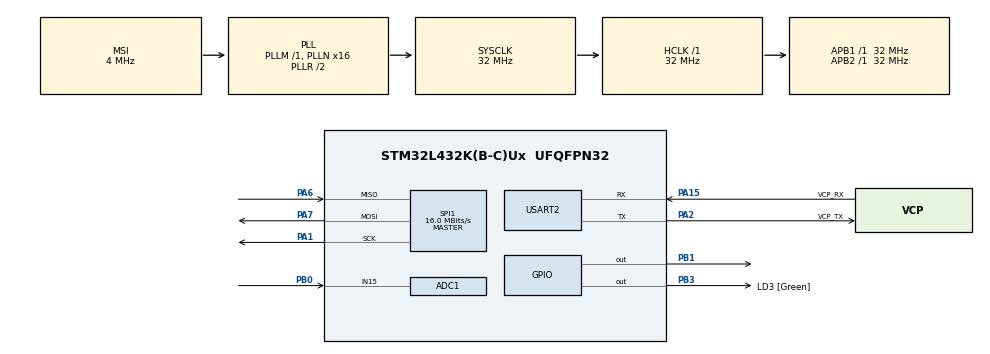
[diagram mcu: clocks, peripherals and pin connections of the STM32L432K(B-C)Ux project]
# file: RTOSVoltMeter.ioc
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ADC1.Channel-0\#ChannelRegularConversion=ADC_CHANNEL_15
ADC1.NbrOfConversionFlag=1
ADC1.OffsetNumber-0\#ChannelRegularConversion=ADC_OFFSET_NONE
ADC1.Rank-0\#ChannelRegularConversion=1
ADC1.SamplingTime-0\#ChannelRegularConversion=ADC_SAMPLETIME_2CYCLES_5
ADC1.master=1
FREERTOS.BinarySemaphores01=adcSemaphore,Static,adcSemaphoreControlBlock,Available;enecryptSemaphore,Static,enecryptSemaphoreControlBlock,Depleted;spiSemaphore,Static,spiSemaphoreControlBlock,Depleted
FREERTOS.Mutexes01=adcLock0,Static,adcLockControlBlock,Available;enecryptLock,Static,enecryptLockControlBlock,Available;spiMutex,Static,spiMutexControlBlock,Available;adcLock1,Static,adcLock1ControlBlock,Available
FREERTOS.Queues01=enecryptOutput,8,uint8_t,0,Static,enecryptOutputBuffer,enecryptOutputControlBlock;adcOutputQueue1,4,uint16_t,0,Static,adcOutputQueue1Buffer,adcOutputQueue1ControlBlock;adcOutputQueue0,4,uint16_t,0,Static,adcOutputQueueBuffer0,adcOutputQueueControlBlock0
FREERTOS.Tasks01=defaultTask,24,128,StartDefaultTask,Default,NULL,Dynamic,NULL,NULL;adc,24,128,StartAdc,Default,NULL,Static,adcBuffer,adcControlBlock;encrypter,24,128,startEncrypter,Default,NULL,Static,encrypterBuffer,encrypterControlBlock;spiTask,24,128,startSpi,Default,NULL,Static,spiTaskBuffer,spiTaskControlBlock
FREERTOS.configUSE_NEWLIB_REENTRANT=1
Mcu.Family=STM32L4
Mcu.Name=STM32L432K(B-C)Ux
Mcu.Package=UFQFPN32
NVIC.PriorityGroup=NVIC_PRIORITYGROUP_4
NVIC.TIM6_DAC_IRQn=true\:15\:0\:false\:false\:true\:false\:false\:true\:true
NVIC.TimeBase=TIM6_DAC_IRQn
NVIC.TimeBaseIP=TIM6
PA0.GPIO_Label=MCO [High speed clock in]
PA0.Mode=HSE-External-Clock-Source-for-LittleOrca
PA0.Signal=RCC_CK_IN
PA1.Mode=Full_Duplex_Master
PA1.Signal=SPI1_SCK
PA13\ (JTMS-SWDIO).GPIO_Label=SWDIO
PA13\ (JTMS-SWDIO).Mode=Serial_Wire
PA13\ (JTMS-SWDIO).Signal=SYS_JTMS-SWDIO
PA14\ (JTCK-SWCLK).GPIO_Label=SWCLK
PA14\ (JTCK-SWCLK).Mode=Serial_Wire
PA14\ (JTCK-SWCLK).Signal=SYS_JTCK-SWCLK
PA15\ (JTDI).GPIO_Label=VCP_RX
PA15\ (JTDI).Mode=Asynchronous
PA15\ (JTDI).Signal=USART2_RX
PA2.GPIO_Label=VCP_TX
PA2.Mode=Asynchronous
PA2.Signal=USART2_TX
PA6.Mode=Full_Duplex_Master
PA6.Signal=SPI1_MISO
PA7.Mode=Full_Duplex_Master
PA7.Signal=SPI1_MOSI
PB0.Signal=ADCx_IN15
PB1.Signal=GPIO_Output
PB3\ (JTDO-TRACESWO).GPIO_Label=LD3 [Green]
PB3\ (JTDO-TRACESWO).Signal=GPIO_Output
PC14-OSC32_IN\ (PC14).Mode=LSE-External-Oscillator
PC14-OSC32_IN\ (PC14).Signal=RCC_OSC32_IN
PC15-OSC32_OUT\ (PC15).Mode=LSE-External-Oscillator
PC15-OSC32_OUT\ (PC15).Signal=RCC_OSC32_OUT
ProjectManager.HeapSize=0x200
ProjectManager.StackSize=0x400
ProjectManager.TargetToolchain=STM32CubeIDE
RCC.ADCFreq_Value=32000000
RCC.AHBFreq_Value=32000000
RCC.APB1Freq_Value=32000000
RCC.APB1TimFreq_Value=32000000
RCC.APB2Freq_Value=32000000
RCC.APB2TimFreq_Value=32000000
RCC.CortexFreq_Value=32000000
RCC.HCLKFreq_Value=32000000
RCC.HSE_VALUE=8000000
RCC.HSI16_VALUE=16000000
RCC.HSI48_VALUE=48000000
RCC.HSI_VALUE=16000000
RCC.MSI_VALUE=4000000
RCC.PLLMUL=RCC_PLLMUL_4
RCC.PLLN=16
RCC.PLLSAI1N=16
RCC.SYSCLKFreq_VALUE=32000000
RCC.SYSCLKSource=RCC_SYSCLKSOURCE_PLLCLK
RCC.USBFreq_Value=32000000
RCC.VCOOutputFreq_Value=64000000
SH.ADCx_IN15.0=ADC1_IN15,IN15-Single-Ended
SPI1.BaudRatePrescaler=SPI_BAUDRATEPRESCALER_2
SPI1.CalculateBaudRate=16.0 MBits/s
SPI1.DataSize=SPI_DATASIZE_8BIT
SPI1.Direction=SPI_DIRECTION_2LINES
SPI1.Mode=SPI_MODE_MASTER
SPI1.NSSPMode=SPI_NSS_PULSE_ENABLE
SPI1.VirtualType=VM_MASTER
USART2.VirtualMode-Asynchronous=VM_ASYNC
VP_FREERTOS_VS_CMSIS_V2.Mode=CMSIS_V2
VP_SYS_VS_tim6.Mode=TIM6
board=NUCLEO-L432KC

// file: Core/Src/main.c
/* USER CODE BEGIN Header */
/**
  ******************************************************************************
  * @file           : main.c
  * @brief          : Main program body
  ******************************************************************************
  * @attention
  *
  * Copyright (c) 2024 STMicroelectronics.
  * All rights reserved.
  *
  * This software is licensed under terms that can be found in the LICENSE file
  * in the root directory of this software component.
  * If no LICENSE file comes with this software, it is provided AS-IS.
  *
  ******************************************************************************
  */
/* USER CODE END Header */
#include "main.h"
#include "cmsis_os.h"

/* USER CODE BEGIN Includes */
#include "stm32l4xx_ll_spi.h"
#include "stm32l4xx_ll_adc.h"
#include "stm32l4xx_ll_gpio.h"
#include "stm32l4xx_ll_bus.h"
#include "stm32l4xx_ll_utils.h"
/* USER CODE END Includes */

typedef StaticTask_t osStaticThreadDef_t;
typedef StaticQueue_t osStaticMessageQDef_t;
typedef StaticSemaphore_t osStaticMutexDef_t;
typedef StaticSemaphore_t osStaticSemaphoreDef_t;

UART_HandleTypeDef huart2;

/* Definitions for defaultTask */
osThreadId_t defaultTaskHandle;
const osThreadAttr_t defaultTask_attributes = {
  .name = "defaultTask",
  .stack_size = 128 * 4,
  .priority = (osPriority_t) osPriorityNormal,
};
/* Definitions for adc */
osThreadId_t adcHandle;
uint32_t adcBuffer[ 128 ];
osStaticThreadDef_t adcControlBlock;
const osThreadAttr_t adc_attributes = {
  .name = "adc",
  .cb_mem = &adcControlBlock,
  .cb_size = sizeof(adcControlBlock),
  .stack_mem = &adcBuffer[0],
  .stack_size = sizeof(adcBuffer),
  .priority = (osPriority_t) osPriorityNormal,
};
/* Definitions for encrypter */
osThreadId_t encrypterHandle;
uint32_t encrypterBuffer[ 128 ];
osStaticThreadDef_t encrypterControlBlock;
const osThreadAttr_t encrypter_attributes = {
  .name = "encrypter",
  .cb_mem = &encrypterControlBlock,
  .cb_size = sizeof(encrypterControlBlock),
  .stack_mem = &encrypterBuffer[0],
  .stack_size = sizeof(encrypterBuffer),
  .priority = (osPriority_t) osPriorityNormal,
};
/* Definitions for spiTask */
osThreadId_t spiTaskHandle;
uint32_t spiTaskBuffer[ 128 ];
osStaticThreadDef_t spiTaskControlBlock;
const osThreadAttr_t spiTask_attributes = {
  .name = "spiTask",
  .cb_mem = &spiTaskControlBlock,
  .cb_size = sizeof(spiTaskControlBlock),
  .stack_mem = &spiTaskBuffer[0],
  .stack_size = sizeof(spiTaskBuffer),
  .priority = (osPriority_t) osPriorityNormal,
};
/* Definitions for enecryptOutput */
osMessageQueueId_t enecryptOutputHandle;
uint8_t enecryptOutputBuffer[ 8 * sizeof( uint8_t ) ];
osStaticMessageQDef_t enecryptOutputControlBlock;
const osMessageQueueAttr_t enecryptOutput_attributes = {
  .name = "enecryptOutput",
  .cb_mem = &enecryptOutputControlBlock,
  .cb_size = sizeof(enecryptOutputControlBlock),
  .mq_mem = &enecryptOutputBuffer,
  .mq_size = sizeof(enecryptOutputBuffer)
};
/* Definitions for adcOutputQueue1 */
osMessageQueueId_t adcOutputQueue1Handle;
uint8_t adcOutputQueue1Buffer[ 4 * sizeof( uint16_t ) ];
osStaticMessageQDef_t adcOutputQueue1ControlBlock;
const osMessageQueueAttr_t adcOutputQueue1_attributes = {
  .name = "adcOutputQueue1",
  .cb_mem = &adcOutputQueue1ControlBlock,
  .cb_size = sizeof(adcOutputQueue1ControlBlock),
  .mq_mem = &adcOutputQueue1Buffer,
  .mq_size = sizeof(adcOutputQueue1Buffer)
};
/* Definitions for adcOutputQueue0 */
osMessageQueueId_t adcOutputQueue0Handle;
uint8_t adcOutputQueueBuffer0[ 4 * sizeof( uint16_t ) ];
osStaticMessageQDef_t adcOutputQueueControlBlock0;
const osMessageQueueAttr_t adcOutputQueue0_attributes = {
  .name = "adcOutputQueue0",
  .cb_mem = &adcOutputQueueControlBlock0,
  .cb_size = sizeof(adcOutputQueueControlBlock0),
  .mq_mem = &adcOutputQueueBuffer0,
  .mq_size = sizeof(adcOutputQueueBuffer0)
};
/* Definitions for adcLock0 */
osMutexId_t adcLock0Handle;
osStaticMutexDef_t adcLockControlBlock;
const osMutexAttr_t adcLock0_attributes = {
  .name = "adcLock0",
  .cb_mem = &adcLockControlBlock,
  .cb_size = sizeof(adcLockControlBlock),
};
/* Definitions for enecryptLock */
osMutexId_t enecryptLockHandle;
osStaticMutexDef_t enecryptLockControlBlock;
const osMutexAttr_t enecryptLock_attributes = {
  .name = "enecryptLock",
  .cb_mem = &enecryptLockControlBlock,
  .cb_size = sizeof(enecryptLockControlBlock),
};
/* Definitions for spiMutex */
osMutexId_t spiMutexHandle;
osStaticMutexDef_t spiMutexControlBlock;
const osMutexAttr_t spiMutex_attributes = {
  .name = "spiMutex",
  .cb_mem = &spiMutexControlBlock,
  .cb_size = sizeof(spiMutexControlBlock),
};
/* Definitions for adcLock1 */
osMutexId_t adcLock1Handle;
osStaticMutexDef_t adcLock1ControlBlock;
const osMutexAttr_t adcLock1_attributes = {
  .name = "adcLock1",
  .cb_mem = &adcLock1ControlBlock,
  .cb_size = sizeof(adcLock1ControlBlock),
};
/* Definitions for adcSemaphore */
osSemaphoreId_t adcSemaphoreHandle;
osStaticSemaphoreDef_t adcSemaphoreControlBlock;
const osSemaphoreAttr_t adcSemaphore_attributes = {
  .name = "adcSemaphore",
  .cb_mem = &adcSemaphoreControlBlock,
  .cb_size = sizeof(adcSemaphoreControlBlock),
};
/* Definitions for enecryptSemaphore */
osSemaphoreId_t enecryptSemaphoreHandle;
osStaticSemaphoreDef_t enecryptSemaphoreControlBlock;
const osSemaphoreAttr_t enecryptSemaphore_attributes = {
  .name = "enecryptSemaphore",
  .cb_mem = &enecryptSemaphoreControlBlock,
  .cb_size = sizeof(enecryptSemaphoreControlBlock),
};
/* Definitions for spiSemaphore */
osSemaphoreId_t spiSemaphoreHandle;
osStaticSemaphoreDef_t spiSemaphoreControlBlock;
const osSemaphoreAttr_t spiSemaphore_attributes = {
  .name = "spiSemaphore",
  .cb_mem = &spiSemaphoreControlBlock,
  .cb_size = sizeof(spiSemaphoreControlBlock),
};

void SystemClock_Config(void);
static void MX_GPIO_Init(void);
static void MX_USART2_UART_Init(void);
static void MX_ADC1_Init(void);
static void MX_SPI1_Init(void);
void StartDefaultTask(void *argument);
void StartAdc(void *argument);
void startEncrypter(void *argument);
void startSpi(void *argument);

/* USER CODE BEGIN PFP */
void encrypt (uint32_t *v0I,uint32_t *v1I, const uint32_t k[4]);
/* USER CODE END PFP */

/* USER CODE BEGIN 0 */
void encrypt (uint32_t *v0I,uint32_t *v1I, const uint32_t k[4]) {
  uint32_t v1 = *v1I, v0=*v0I;
  uint32_t sum=0, i;   /* set up */
  uint32_t delta=0x9E3779B9;             /* a key schedule constant */
  uint32_t k0=k[0], k1=k[1], k2=k[2], k3=k[3];  /* cache key */
  for (i=0; i<32; i++) {                 /* basic cycle start */
    sum += delta;
    v0 += ((v1<<4) + k0) ^ (v1 + sum) ^ ((v1>>5) + k1);
    v1 += ((v0<<4) + k2) ^ (v0 + sum) ^ ((v0>>5) + k3);
  }                       /* end cycle */
  (*v0I)= v0;
  (*v1I)= v1;
}
/* USER CODE END 0 */

int main(void)
{

  /* MCU Configuration--------------------------------------------------------*/

  /* Reset of all peripherals, Initializes the Flash interface and the Systick. */
  HAL_Init();

  /* Configure the system clock */
  SystemClock_Config();

  /* Initialize all configured peripherals */
  MX_GPIO_Init();
  MX_USART2_UART_Init();
  MX_ADC1_Init();
  MX_SPI1_Init();

  /* Init scheduler */
  osKernelInitialize();
  /* Create the mutex(es) */
  /* creation of adcLock0 */
  adcLock0Handle = osMutexNew(&adcLock0_attributes);

  /* creation of enecryptLock */
  enecryptLockHandle = osMutexNew(&enecryptLock_attributes);

  /* creation of spiMutex */
  spiMutexHandle = osMutexNew(&spiMutex_attributes);

  /* creation of adcLock1 */
  adcLock1Handle = osMutexNew(&adcLock1_attributes);

  /* Create the semaphores(s) */
  /* creation of adcSemaphore */
  adcSemaphoreHandle = osSemaphoreNew(1, 1, &adcSemaphore_attributes);

  /* creation of enecryptSemaphore */
  enecryptSemaphoreHandle = osSemaphoreNew(1, 0, &enecryptSemaphore_attributes);

  /* creation of spiSemaphore */
  spiSemaphoreHandle = osSemaphoreNew(1, 0, &spiSemaphore_attributes);

  /* Create the queue(s) */
  /* creation of enecryptOutput */
  enecryptOutputHandle = osMessageQueueNew (8, sizeof(uint8_t), &enecryptOutput_attributes);

  /* creation of adcOutputQueue1 */
  adcOutputQueue1Handle = osMessageQueueNew (4, sizeof(uint16_t), &adcOutputQueue1_attributes);

  /* creation of adcOutputQueue0 */
  adcOutputQueue0Handle = osMessageQueueNew (4, sizeof(uint16_t), &adcOutputQueue0_attributes);

  /* Create the thread(s) */
  /* creation of defaultTask */
  defaultTaskHandle = osThreadNew(StartDefaultTask, NULL, &defaultTask_attributes);

  /* creation of adc */
  adcHandle = osThreadNew(StartAdc, NULL, &adc_attributes);

  /* creation of encrypter */
  encrypterHandle = osThreadNew(startEncrypter, NULL, &encrypter_attributes);

  /* creation of spiTask */
  spiTaskHandle = osThreadNew(startSpi, NULL, &spiTask_attributes);

  /* Start scheduler */
  osKernelStart();

  /* We should never get here as control is now taken by the scheduler */

  /* Infinite loop */
  while (1)
  {

  }
}

void SystemClock_Config(void)
{
  RCC_OscInitTypeDef RCC_OscInitStruct = {0};
  RCC_ClkInitTypeDef RCC_ClkInitStruct = {0};

  /** Configure the main internal regulator output voltage
  */
  if (HAL_PWREx_ControlVoltageScaling(PWR_REGULATOR_VOLTAGE_SCALE1) != HAL_OK)
  {
    Error_Handler();
  }

  /** Configure LSE Drive Capability
  */
  HAL_PWR_EnableBkUpAccess();
  __HAL_RCC_LSEDRIVE_CONFIG(RCC_LSEDRIVE_LOW);

  /** Initializes the RCC Oscillators according to the specified parameters
  * in the RCC_OscInitTypeDef structure.
  */
  RCC_OscInitStruct.OscillatorType = RCC_OSCILLATORTYPE_LSE|RCC_OSCILLATORTYPE_MSI;
  RCC_OscInitStruct.LSEState = RCC_LSE_ON;
  RCC_OscInitStruct.MSIState = RCC_MSI_ON;
  RCC_OscInitStruct.MSICalibrationValue = 0;
  RCC_OscInitStruct.MSIClockRange = RCC_MSIRANGE_6;
  RCC_OscInitStruct.PLL.PLLState = RCC_PLL_ON;
  RCC_OscInitStruct.PLL.PLLSource = RCC_PLLSOURCE_MSI;
  RCC_OscInitStruct.PLL.PLLM = 1;
  RCC_OscInitStruct.PLL.PLLN = 16;
  RCC_OscInitStruct.PLL.PLLP = RCC_PLLP_DIV7;
  RCC_OscInitStruct.PLL.PLLQ = RCC_PLLQ_DIV2;
  RCC_OscInitStruct.PLL.PLLR = RCC_PLLR_DIV2;
  if (HAL_RCC_OscConfig(&RCC_OscInitStruct) != HAL_OK)
  {
    Error_Handler();
  }

  /** Initializes the CPU, AHB and APB buses clocks
  */
  RCC_ClkInitStruct.ClockType = RCC_CLOCKTYPE_HCLK|RCC_CLOCKTYPE_SYSCLK
                              |RCC_CLOCKTYPE_PCLK1|RCC_CLOCKTYPE_PCLK2;
  RCC_ClkInitStruct.SYSCLKSource = RCC_SYSCLKSOURCE_PLLCLK;
  RCC_ClkInitStruct.AHBCLKDivider = RCC_SYSCLK_DIV1;
  RCC_ClkInitStruct.APB1CLKDivider = RCC_HCLK_DIV1;
  RCC_ClkInitStruct.APB2CLKDivider = RCC_HCLK_DIV1;

  if (HAL_RCC_ClockConfig(&RCC_ClkInitStruct, FLASH_LATENCY_1) != HAL_OK)
  {
    Error_Handler();
  }

  /** Enable MSI Auto calibration
  */
  HAL_RCCEx_EnableMSIPLLMode();
}

static void MX_ADC1_Init(void)
{

  LL_ADC_InitTypeDef ADC_InitStruct = {0};
  LL_ADC_REG_InitTypeDef ADC_REG_InitStruct = {0};
  LL_ADC_CommonInitTypeDef ADC_CommonInitStruct = {0};

  LL_GPIO_InitTypeDef GPIO_InitStruct = {0};
  RCC_PeriphCLKInitTypeDef PeriphClkInit = {0};

  /** Initializes the peripherals clock
  */
  PeriphClkInit.PeriphClockSelection = RCC_PERIPHCLK_ADC;
  PeriphClkInit.AdcClockSelection = RCC_ADCCLKSOURCE_PLLSAI1;
  PeriphClkInit.PLLSAI1.PLLSAI1Source = RCC_PLLSOURCE_MSI;
  PeriphClkInit.PLLSAI1.PLLSAI1M = 1;
  PeriphClkInit.PLLSAI1.PLLSAI1N = 16;
  PeriphClkInit.PLLSAI1.PLLSAI1P = RCC_PLLP_DIV7;
  PeriphClkInit.PLLSAI1.PLLSAI1Q = RCC_PLLQ_DIV2;
  PeriphClkInit.PLLSAI1.PLLSAI1R = RCC_PLLR_DIV2;
  PeriphClkInit.PLLSAI1.PLLSAI1ClockOut = RCC_PLLSAI1_ADC1CLK;
  if (HAL_RCCEx_PeriphCLKConfig(&PeriphClkInit) != HAL_OK)
  {
    Error_Handler();
  }

  /* Peripheral clock enable */
  LL_AHB2_GRP1_EnableClock(LL_AHB2_GRP1_PERIPH_ADC);

  LL_AHB2_GRP1_EnableClock(LL_AHB2_GRP1_PERIPH_GPIOB);
  /**ADC1 GPIO Configuration
  PB0   ------> ADC1_IN15
  */
  GPIO_InitStruct.Pin = LL_GPIO_PIN_0;
  GPIO_InitStruct.Mode = LL_GPIO_MODE_ANALOG;
  GPIO_InitStruct.Pull = LL_GPIO_PULL_NO;
  LL_GPIO_Init(GPIOB, &GPIO_InitStruct);

  /** Common config
  */
  ADC_InitStruct.Resolution = LL_ADC_RESOLUTION_12B;
  ADC_InitStruct.DataAlignment = LL_ADC_DATA_ALIGN_RIGHT;
  ADC_InitStruct.LowPowerMode = LL_ADC_LP_MODE_NONE;
  LL_ADC_Init(ADC1, &ADC_InitStruct);
  ADC_REG_InitStruct.TriggerSource = LL_ADC_REG_TRIG_SOFTWARE;
  ADC_REG_InitStruct.SequencerLength = LL_ADC_REG_SEQ_SCAN_DISABLE;
  ADC_REG_InitStruct.SequencerDiscont = LL_ADC_REG_SEQ_DISCONT_DISABLE;
  ADC_REG_InitStruct.ContinuousMode = LL_ADC_REG_CONV_SINGLE;
  ADC_REG_InitStruct.DMATransfer = LL_ADC_REG_DMA_TRANSFER_NONE;
  ADC_REG_InitStruct.Overrun = LL_ADC_REG_OVR_DATA_PRESERVED;
  LL_ADC_REG_Init(ADC1, &ADC_REG_InitStruct);
  LL_ADC_SetOverSamplingScope(ADC1, LL_ADC_OVS_DISABLE);
  ADC_CommonInitStruct.CommonClock = LL_ADC_CLOCK_ASYNC_DIV1;
  LL_ADC_CommonInit(__LL_ADC_COMMON_INSTANCE(ADC1), &ADC_CommonInitStruct);
  LL_ADC_SetCommonPathInternalCh(__LL_ADC_COMMON_INSTANCE(ADC1), LL_ADC_PATH_INTERNAL_NONE);

  /* Disable ADC deep power down (enabled by default after reset state) */
  LL_ADC_DisableDeepPowerDown(ADC1);
  /* Enable ADC internal voltage regulator */
  LL_ADC_EnableInternalRegulator(ADC1);
  /* Delay for ADC internal voltage regulator stabilization. */
  /* Compute number of CPU cycles to wait for, from delay in us. */
  /* Note: Variable divided by 2 to compensate partially */
  /* CPU processing cycles (depends on compilation optimization). */
  /* Note: If system core clock frequency is below 200kHz, wait time */
  /* is only a few CPU processing cycles. */
  uint32_t wait_loop_index;
  wait_loop_index = ((LL_ADC_DELAY_INTERNAL_REGUL_STAB_US * (SystemCoreClock / (100000 * 2))) / 10);
  while(wait_loop_index != 0)
  {
    wait_loop_index--;
  }

  /** Configure Regular Channel
  */
  LL_ADC_REG_SetSequencerRanks(ADC1, LL_ADC_REG_RANK_1, LL_ADC_CHANNEL_15);
  LL_ADC_SetChannelSamplingTime(ADC1, LL_ADC_CHANNEL_15, LL_ADC_SAMPLINGTIME_2CYCLES_5);
  LL_ADC_SetChannelSingleDiff(ADC1, LL_ADC_CHANNEL_15, LL_ADC_SINGLE_ENDED);

}

static void MX_SPI1_Init(void)
{

  LL_SPI_InitTypeDef SPI_InitStruct = {0};

  LL_GPIO_InitTypeDef GPIO_InitStruct = {0};

  /* Peripheral clock enable */
  LL_APB2_GRP1_EnableClock(LL_APB2_GRP1_PERIPH_SPI1);

  LL_AHB2_GRP1_EnableClock(LL_AHB2_GRP1_PERIPH_GPIOA);
  /**SPI1 GPIO Configuration
  PA1   ------> SPI1_SCK
  PA6   ------> SPI1_MISO
  PA7   ------> SPI1_MOSI
  */
  GPIO_InitStruct.Pin = LL_GPIO_PIN_1|LL_GPIO_PIN_6|LL_GPIO_PIN_7;
  GPIO_InitStruct.Mode = LL_GPIO_MODE_ALTERNATE;
  GPIO_InitStruct.Speed = LL_GPIO_SPEED_FREQ_VERY_HIGH;
  GPIO_InitStruct.OutputType = LL_GPIO_OUTPUT_PUSHPULL;
  GPIO_InitStruct.Pull = LL_GPIO_PULL_NO;
  GPIO_InitStruct.Alternate = LL_GPIO_AF_5;
  LL_GPIO_Init(GPIOA, &GPIO_InitStruct);

  /* SPI1 parameter configuration*/
  SPI_InitStruct.TransferDirection = LL_SPI_FULL_DUPLEX;
  SPI_InitStruct.Mode = LL_SPI_MODE_MASTER;
  SPI_InitStruct.DataWidth = LL_SPI_DATAWIDTH_8BIT;
  SPI_InitStruct.ClockPolarity = LL_SPI_POLARITY_LOW;
  SPI_InitStruct.ClockPhase = LL_SPI_PHASE_1EDGE;
  SPI_InitStruct.NSS = LL_SPI_NSS_SOFT;
  SPI_InitStruct.BaudRate = LL_SPI_BAUDRATEPRESCALER_DIV2;
  SPI_InitStruct.BitOrder = LL_SPI_MSB_FIRST;
  SPI_InitStruct.CRCCalculation = LL_SPI_CRCCALCULATION_DISABLE;
  SPI_InitStruct.CRCPoly = 7;
  LL_SPI_Init(SPI1, &SPI_InitStruct);
  LL_SPI_SetStandard(SPI1, LL_SPI_PROTOCOL_MOTOROLA);
  LL_SPI_EnableNSSPulseMgt(SPI1);

}

static void MX_USART2_UART_Init(void)
{

  huart2.Instance = USART2;
  huart2.Init.BaudRate = 115200;
  huart2.Init.WordLength = UART_WORDLENGTH_8B;
  huart2.Init.StopBits = UART_STOPBITS_1;
  huart2.Init.Parity = UART_PARITY_NONE;
  huart2.Init.Mode = UART_MODE_TX_RX;
  huart2.Init.HwFlowCtl = UART_HWCONTROL_NONE;
  huart2.Init.OverSampling = UART_OVERSAMPLING_16;
  huart2.Init.OneBitSampling = UART_ONE_BIT_SAMPLE_DISABLE;
  huart2.AdvancedInit.AdvFeatureInit = UART_ADVFEATURE_NO_INIT;
  if (HAL_UART_Init(&huart2) != HAL_OK)
  {
    Error_Handler();
  }

}

static void MX_GPIO_Init(void)
{
  LL_GPIO_InitTypeDef GPIO_InitStruct = {0};

  /* GPIO Ports Clock Enable */
  LL_AHB2_GRP1_EnableClock(LL_AHB2_GRP1_PERIPH_GPIOC);
  LL_AHB2_GRP1_EnableClock(LL_AHB2_GRP1_PERIPH_GPIOA);
  LL_AHB2_GRP1_EnableClock(LL_AHB2_GRP1_PERIPH_GPIOB);

  /**/
  LL_GPIO_ResetOutputPin(GPIOB, LL_GPIO_PIN_1|LD3_Pin);

  /**/
  GPIO_InitStruct.Pin = LL_GPIO_PIN_1|LD3_Pin;
  GPIO_InitStruct.Mode = LL_GPIO_MODE_OUTPUT;
  GPIO_InitStruct.Speed = LL_GPIO_SPEED_FREQ_LOW;
  GPIO_InitStruct.OutputType = LL_GPIO_OUTPUT_PUSHPULL;
  GPIO_InitStruct.Pull = LL_GPIO_PULL_NO;
  LL_GPIO_Init(GPIOB, &GPIO_InitStruct);

}

void StartDefaultTask(void *argument)
{
  for(;;)
  {
    osDelay(1);
  }
}

void StartAdc(void *argument)
{
  /* USER CODE BEGIN StartAdc */
	//Enabling ADC 1
	LL_ADC_Enable(ADC1);

  /* Infinite loop */
  for(;;)
  {
	//Init holders for the ADC readings
	uint16_t holder1[4] = {0};
	uint16_t holder2[4] = {0};

	uint16_t byte = 0x00ff;

	//Lock out buffer0
	(void*)osMutexAcquire(adcLock0Handle, osWaitForever);

	for(uint8_t i = 0; i < 4; i++)
	{
	  //Start ADC conversion for each reading
	  LL_ADC_REG_StartConversion(ADC1);
	  //Wait until the conversion process has started
	  while(LL_ADC_REG_IsConversionOngoing(ADC1)) {}

	  //Assign the 12 bit value to the "holder" buffer
	  holder1[i] = LL_ADC_REG_ReadConversionData12(ADC1);

	  //Stop the conversion
	  LL_ADC_REG_StopConversion(ADC1);
	  //Wait until the conversion has stopped
	  while(LL_ADC_REG_IsStopConversionOngoing(ADC1)) {}

	}

	//breaking up the 4 16-bit values in the holder1 buffer to 8 8-bit values to store into "adcOutputQueueBuffer0"
	adcOutputQueueBuffer0[0] = (holder1[0] >> 8) & byte;
	adcOutputQueueBuffer0[1] = (holder1[0]) & byte;
	adcOutputQueueBuffer0[2] = (holder1[1] >> 8) & byte;
	adcOutputQueueBuffer0[3] = (holder1[1]) & byte;
	adcOutputQueueBuffer0[4] = (holder1[2] >> 8) & byte;
	adcOutputQueueBuffer0[5] = (holder1[2]) & byte;
	adcOutputQueueBuffer0[6] = (holder1[3] >> 8) & byte;
	adcOutputQueueBuffer0[7] = (holder1[3]) & byte;

	//Unlock buffer 0
	(void*)osMutexRelease(adcLock0Handle);

	//Lock out buffer 1
	(void*)osMutexAcquire(adcLock1Handle, osWaitForever);

	for(uint8_t i = 0; i < 4; i++)
	{
		  //Start ADC conversion for each reading
		  LL_ADC_REG_StartConversion(ADC1);
		  //Wait until the conversion process has started
		  while(LL_ADC_REG_IsConversionOngoing(ADC1)) {}

		  //Assign the 12 bit value to the "holder" buffer
		  holder2[i] = LL_ADC_REG_ReadConversionData12(ADC1);

		  //Stop the conversion
		  LL_ADC_REG_StopConversion(ADC1);
		  //Wait until the conversion has stopped
		  while(LL_ADC_REG_IsStopConversionOngoing(ADC1)) {}
	}

	//breaking up the 4 16-bit values in the holder2 buffer to 8 8-bit values to store into "adcOutputQueueBuffer1"
	adcOutputQueue1Buffer[0] = (holder2[0] >> 8) & byte;
	adcOutputQueue1Buffer[1] = (holder2[0]) & byte;
	adcOutputQueue1Buffer[2] = (holder2[1] >> 8) & byte;
	adcOutputQueue1Buffer[3] = (holder2[1]) & byte;
	adcOutputQueue1Buffer[4] = (holder2[2] >> 8) & byte;
	adcOutputQueue1Buffer[5] = (holder2[2]) & byte;
	adcOutputQueue1Buffer[6] = (holder2[3] >> 8) & byte;
	adcOutputQueue1Buffer[7] = (holder2[3]) & byte;

	//Unlock buffer 1
	(void*)osMutexRelease(adcLock1Handle);

  }
  /* USER CODE END StartAdc */
}

void startEncrypter(void *argument)
{
  /* USER CODE BEGIN startEncrypter */
  /* Infinite loop */
	uint32_t repackaged[2] = {0,0}; //2 32 bit values, packed version of values
	uint16_t values[8] = {0}; //values from the adc queue
	const uint32_t k[4] = {371, 215, 11, 12}; //key
//	uint32_t repackaged[2] = {0,0}; //2 32 bit values, packed version of values
	uint8_t toSend[8]; //encrypted version of repackaged
  for(;;)
  {
	  	  repackaged[0] = 0;
	  	  repackaged[1] = 0;
	  	  //lock buffer 1

	  	//Claim mutex1
	  	(void*)osMutexAcquire(adcLock1Handle, osWaitForever);
		  	//get the values from buffer 1
		  	for(uint8_t i = 0; i < 8; i++)
		  	{
		  		values[i] = adcOutputQueue1Buffer[i];
		  	}
		  	//release buffer 1
		  	(void*)osMutexRelease(adcLock1Handle);

		    //repack into 2 32 bit values
		  	//Repackage data from buffer1 into an array of 2 x uint32_t
		    repackaged[0]= values[0] << 24 | values[1] << 16 | values[2] << 8 | values[3];
		    repackaged[1]= values[4] << 24 | values[5] << 16 | values[6] << 8 | values[7];

		    //encrypt the data
		    //Encrypt with keys (371,215,11,12)
		    encrypt(&repackaged[0],&repackaged[1],k);

		    //repack into 8 8 bit values
		    //Repackage obscured data as 8 x uint8t_
		    toSend[0] = (uint8_t)(repackaged[0] >> 24);
		    toSend[1] = (uint8_t)(repackaged[0] >> 16);
		    toSend[2] = (uint8_t)(repackaged[0] >> 8);
		    toSend[3] = (uint8_t)(repackaged[0] >> 0);
		    toSend[4] = (uint8_t)(repackaged[1] >> 24);
		    toSend[5] = (uint8_t)(repackaged[1] >> 16);
		    toSend[6] = (uint8_t)(repackaged[1] >> 8);
		    toSend[7] = (uint8_t)(repackaged[1] >> 0);

		    //enqueue the data

		    for(uint8_t i = 0; i < 8; i++){
		    	(void*)osMessageQueuePut(enecryptOutputHandle,&toSend[i], 0, pdMS_TO_TICKS(1000));
		    }
		    //lock buffer 0
		  	//Claim mutex0
		    (void*)osMutexAcquire(adcLock0Handle, osWaitForever);
		    //get the values from buffer 0
		  	for(uint8_t i = 0; i < 8; i++)
		  	{
		  		values[i] = adcOutputQueueBuffer0[i];
		  	}

		  	//release buffer 1
		  	(void*)osMutexRelease(adcLock0Handle);

		    //repack into 2 32 bit values
		    repackaged[0] = 0;
		    repackaged[1] = 0;

		    //Repackage data from buffer1 into an array of 2 x uint32_t
		    repackaged[0]= values[0] << 24 | values[1] << 16 | values[2] << 8 | values[3];
		    repackaged[1]= values[4] << 24 | values[5] << 16 | values[6] << 8 | values[7];

		    //encrypt the data
		    //Encrypt with keys (371,215,11,12)
		    encrypt(&repackaged[0],&repackaged[1],k);

		    //repack into 8 8 bit values
		    //Repackage obscured data as 8 x uint8t_
		    toSend[0] = (uint8_t)(repackaged[0] >> 24);
		    toSend[1] = (uint8_t)(repackaged[0] >> 16);
		    toSend[2] = (uint8_t)(repackaged[0] >> 8);
		    toSend[3] = (uint8_t)(repackaged[0] >> 0);
		    toSend[4] = (uint8_t)(repackaged[1] >> 24);
		    toSend[5] = (uint8_t)(repackaged[1] >> 16);
		    toSend[6] = (uint8_t)(repackaged[1] >> 8);
		    toSend[7] = (uint8_t)(repackaged[1] >> 0);

		    //enqueue the data
		    for(uint8_t i = 0; i < 8; i++){
		    	(void*)osMessageQueuePut(enecryptOutputHandle,&toSend[i], 0, pdMS_TO_TICKS(1000));
		    }
	  }
  /* USER CODE END startEncrypter */
}

void startSpi(void *argument)
{
  /* USER CODE BEGIN startSpi */
  /* Infinite loop */
	//temp location for data to write
	uint8_t currentValue = 0;
	LL_SPI_Enable(SPI1);
  for(;;)
  {
	  uint8_t toWrite[10] = {255};
	    for(uint8_t i =1; i < 9; i++){ //send 8 bytes
	    	(void*)osMessageQueueGet(enecryptOutputHandle, &currentValue, NULL, pdMS_TO_TICKS(1000)); //get new data
	    	toWrite[i] = currentValue;
	    }
	    /*
	    Use HAL to xmit out SPI this way:
	    GPIO assert low (as ~SS)
	    Transmit all 8 bytes
	    GPIO assert ~SS high
		*/
	    for(uint8_t i=0; i<10; i++){
				GPIOB->ODR &= ~(1<<1);//Set CS low
				while (!LL_SPI_IsActiveFlag_TXE(SPI1)) {} //wait for spi transmit buffer to be empty
				LL_SPI_TransmitData8(SPI1, toWrite[i]); //send the data
				while (LL_SPI_IsActiveFlag_BSY(SPI1)) {} //wait for spi to no longer be busy
				GPIOB->ODR |= (1<<1); //set CS high
	    }

	    //change CS for each byte
	    //send data as 255 x x x x _ x x x x 0
	    //start byte is 255
	    //stop byte is 0

  }
  /* USER CODE END startSpi */
}

void HAL_TIM_PeriodElapsedCallback(TIM_HandleTypeDef *htim)
{
  if (htim->Instance == TIM6) {
    HAL_IncTick();
  }
}

void Error_Handler(void)
{
  __disable_irq();
  while (1)
  {
  }
}
